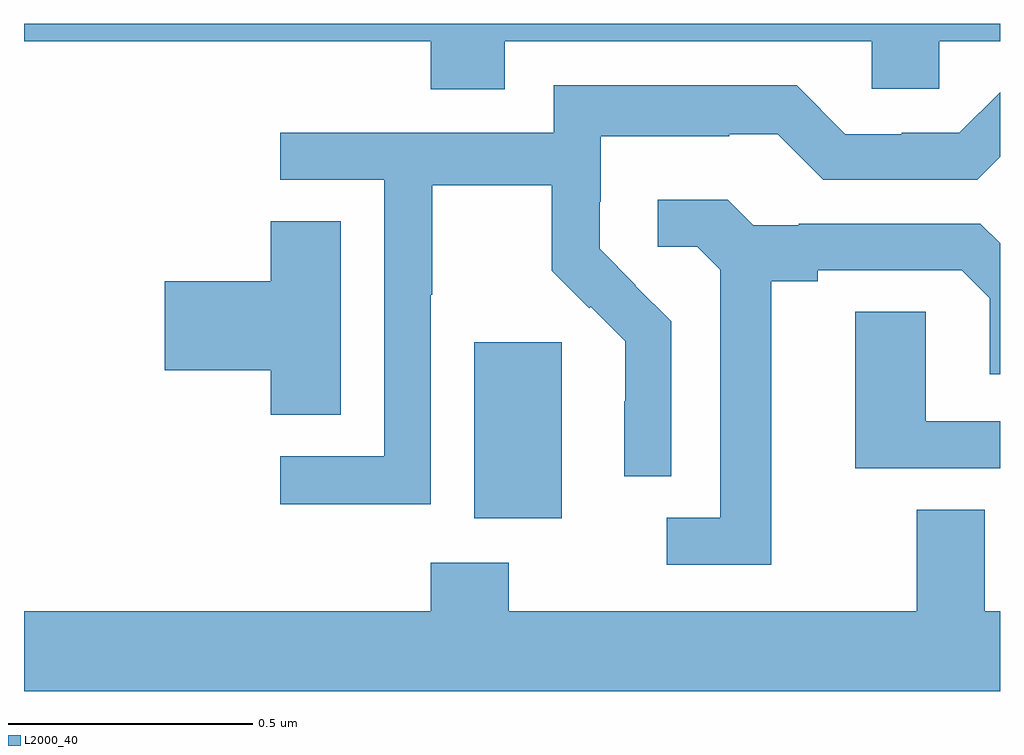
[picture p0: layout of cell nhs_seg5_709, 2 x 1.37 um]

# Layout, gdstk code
import gdstk
lib = gdstk.Library(unit=1e-6, precision=1e-09)
def R(c, l, rs):  # rectangles x0, y0, x1, y1
    for r in rs: c.add(gdstk.rectangle(r[:2], r[2:], *l))
def P(c, l, *ps):  # polygons
    for p in ps: c.add(gdstk.Polygon(p, *l))
L2000_40 = (2000, 40)

nhs_seg5_709 = lib.new_cell('nhs_seg5_709')
R(nhs_seg5_709, L2000_40, [(120.923,851.786,121.102,852.147)])
P(nhs_seg5_709, L2000_40, [(120.985,852.764),(121.737,852.764),(121.737,852.666),(121.875,852.666),(121.875,852.764),(122,852.764),(122,852.799),(120,852.799),(120,852.764),(120.833,852.764),(120.833,852.665),(120.985,852.665)],
  [(120.834,852.244),(120.837,852.244),(120.837,852.468),(121.081,852.468),(121.081,852.293),(121.158,852.216),(121.161,852.219),(121.232,852.149),(121.232,852.026),(121.23,852.026),(121.23,851.872),(121.326,851.872),(121.326,852.19),(121.253,852.263),(121.254,852.264),(121.18,852.338),(121.18,852.435),(121.182,852.435),(121.182,852.569),(121.445,852.569),(121.445,852.573),(121.545,852.573),(121.638,852.48),(121.953,852.48),(122,852.527),(122,852.659),(121.917,852.576),(121.799,852.576),(121.799,852.573),(121.683,852.573),(121.583,852.673),(121.086,852.673),(121.086,852.576),(120.525,852.576),(120.525,852.48),(120.738,852.48),(120.738,851.913),(120.525,851.913),(120.525,851.815),(120.834,851.815)],
  [(121.531,852.272),(121.627,852.272),(121.627,852.294),(121.922,852.294),(121.979,852.237),(121.979,852.081),(122,852.081),(122,852.35),(121.96,852.39),(121.588,852.39),(121.588,852.387),(121.494,852.387),(121.442,852.439),(121.299,852.439),(121.299,852.342),(121.38,852.342),(121.427,852.295),(121.427,851.787),(121.317,851.787),(121.317,851.691),(121.531,851.691)],
  [(120.649,852.395),(120.506,852.395),(120.506,852.272),(120.288,852.272),(120.288,852.089),(120.506,852.089),(120.506,851.998),(120.649,851.998)],
  [(122,851.985),(121.848,851.985),(121.848,852.209),(121.703,852.209),(121.703,851.889),(122,851.889)],
  [(122,851.596),(121.969,851.596),(121.969,851.804),(121.829,851.804),(121.829,851.596),(120.993,851.596),(120.993,851.695),(120.833,851.695),(120.833,851.596),(120,851.596),(120,851.432),(122,851.432)])

lib.write_gds('nhs_seg5_709.gds')
